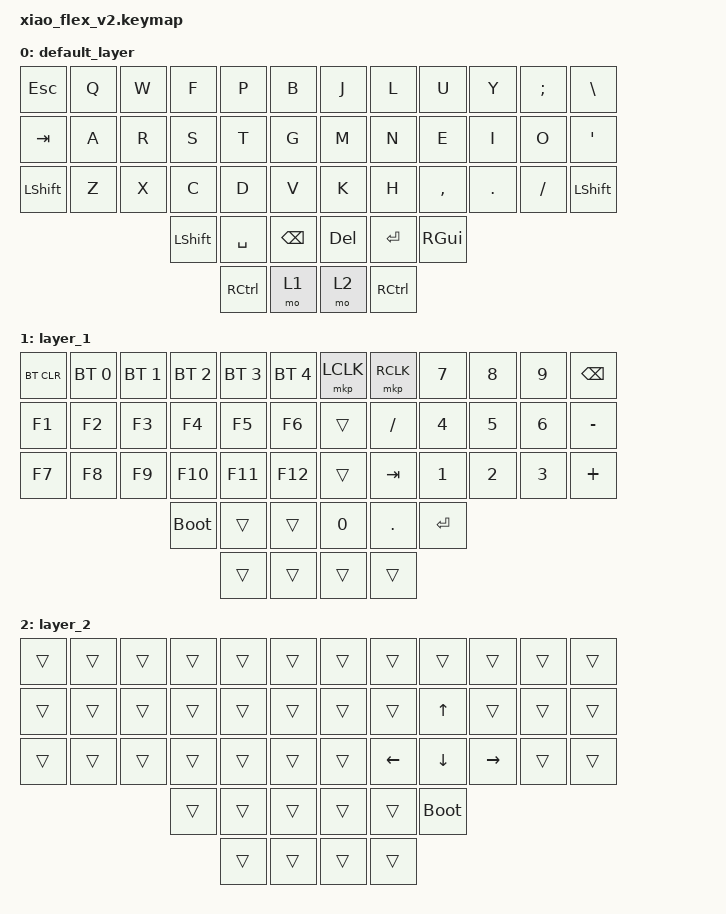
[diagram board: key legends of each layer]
/*
 * Copyright (c) 2020 The ZMK Contributors
 *
 * SPDX-License-Identifier: MIT
 */

#include <dt-bindings/led/led.h>
#include <behaviors/mouse_keys.dtsi>
#include <behaviors.dtsi>
#include <dt-bindings/zmk/bt.h>
#include <dt-bindings/zmk/keys.h>
#include <dt-bindings/zmk/mouse.h>

/ {
    keymap {
        compatible = "zmk,keymap";

        default_layer {
            bindings = <
&kp ESC    &kp Q  &kp W  &kp F      &kp P      &kp B       &kp J    &kp L      &kp U      &kp Y    &kp SEMICOLON  &kp BSLH
&kp TAB    &kp A  &kp R  &kp S      &kp T      &kp G       &kp M    &kp N      &kp E      &kp I    &kp O          &kp SQT
&kp LSHFT  &kp Z  &kp X  &kp C      &kp D      &kp V       &kp K    &kp H      &kp COMMA  &kp DOT  &kp FSLH       &kp LSHFT
                         &kp LSHFT  &kp SPACE  &kp BSPC    &kp DEL  &kp RET    &kp RGUI
                                    &kp RCTRL  &mo 1       &mo 2    &kp RCTRL
            >;
        };

        layer_1 {
            bindings = <
&bt BT_CLR  &bt BT_SEL 0  &bt BT_SEL 1  &bt BT_SEL 2  &bt BT_SEL 3  &bt BT_SEL 4    &mkp LCLK  &mkp RCLK  &kp N7     &kp N8  &kp N9  &kp BSPC
&kp F1      &kp F2        &kp F3        &kp F4        &kp F5        &kp F6          &trans     &kp FSLH   &kp N4     &kp N5  &kp N6  &kp MINUS
&kp F7      &kp F8        &kp F9        &kp F10       &kp F11       &kp F12         &trans     &kp TAB    &kp N1     &kp N2  &kp N3  &kp PLUS
                                        &bootloader   &trans        &trans          &kp N0     &kp DOT    &kp ENTER
                                                      &trans        &trans          &trans     &trans
            >;
        };

        layer_2 {
            bindings = <
&trans  &trans  &trans  &trans  &trans  &trans    &trans  &trans    &trans       &trans     &trans  &trans
&trans  &trans  &trans  &trans  &trans  &trans    &trans  &trans    &kp UP       &trans     &trans  &trans
&trans  &trans  &trans  &trans  &trans  &trans    &trans  &kp LEFT  &kp DOWN     &kp RIGHT  &trans  &trans
                        &trans  &trans  &trans    &trans  &trans    &bootloader
                                &trans  &trans    &trans  &trans
            >;
        };
    };
};
